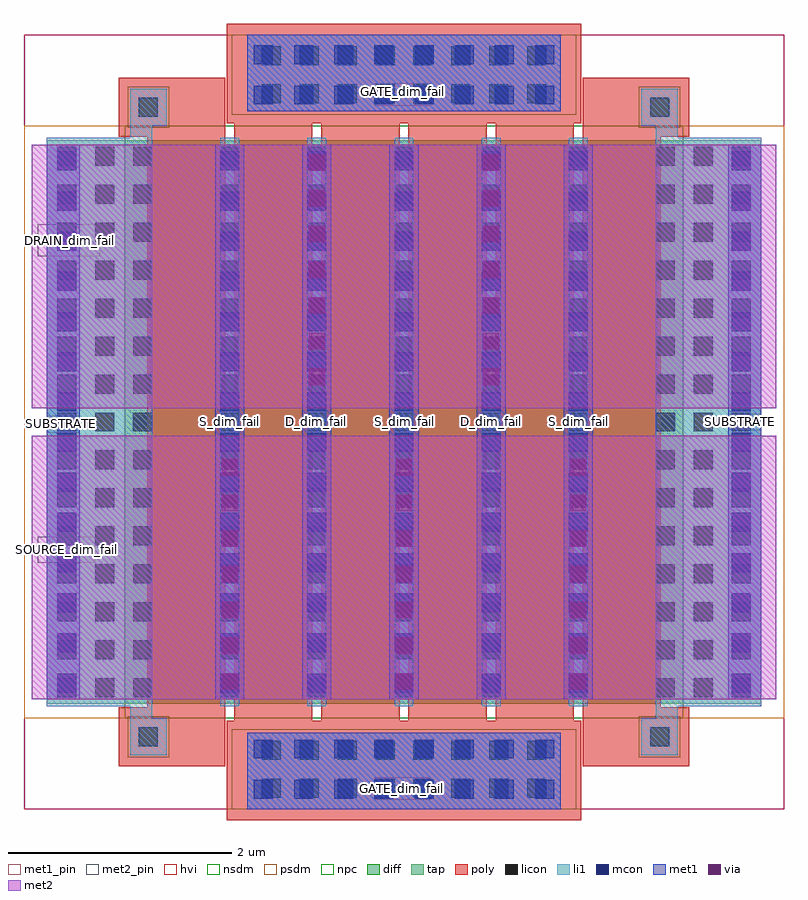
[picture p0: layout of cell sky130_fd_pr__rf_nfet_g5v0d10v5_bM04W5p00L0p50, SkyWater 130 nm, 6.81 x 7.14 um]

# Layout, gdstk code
import gdstk
lib = gdstk.Library(unit=1e-6, precision=1e-09)
def R(c, l, rs):  # rectangles x0, y0, x1, y1
    for r in rs: c.add(gdstk.rectangle(r[:2], r[2:], *l))
def A(c, l, x, y, w, h, nx, ny, dx, dy):  # array of equal rectangles
    R(c, l, [(x+i*dx, y+j*dy, x+i*dx+w, y+j*dy+h) for i in range(nx) for j in range(ny)])
def P(c, l, *ps):  # polygons
    for p in ps: c.add(gdstk.Polygon(p, *l))
diff = (65, 20)
tap = (65, 44)
poly = (66, 20)
licon = (66, 44)
li1 = (67, 20)
mcon = (67, 44)
met1_pin = (68, 16)
met1 = (68, 20)
via = (68, 44)
met2_pin = (69, 16)
met2 = (69, 20)
hvi = (75, 20)
nsdm = (93, 44)
psdm = (94, 20)
npc = (95, 20)

sky130_fd_pr__rf_nfet_g5 = lib.new_cell('sky130_fd_pr__rf_nfet_g5v0d10v5_bM04W5p00L0p50')
R(sky130_fd_pr__rf_nfet_g5, diff, [(0.905,0.945,5.905,5.995)])
R(sky130_fd_pr__rf_nfet_g5, tap, [(0.205,0.945,0.905,5.995), (5.905,0.945,6.605,5.995)])
P(sky130_fd_pr__rf_nfet_g5, poly, [(0.85,0.385),(0.85,0.915),(1.105,0.915),(1.105,6.025),(0.85,6.025),(0.85,6.555),(1.805,6.555),(1.805,0.385)],
  [(5.005,0.385),(5.005,6.555),(5.96,6.555),(5.96,6.025),(5.705,6.025),(5.705,0.915),(5.96,0.915),(5.96,0.385)],
  [(1.815,-0.1),(1.815,0.795),(1.885,0.795),(1.885,6.145),(2.585,6.145),(2.585,0.795),(2.665,0.795),(2.665,6.145),(3.365,6.145),(3.365,0.795),(3.445,0.795),(3.445,6.145),(4.145,6.145),(4.145,0.795),(4.225,0.795),(4.225,6.145),(1.815,6.145),(1.815,7.04),(4.995,7.04),(4.995,6.145),(4.925,6.145),(4.925,0.795),(4.995,0.795),(4.995,-0.1)])
A(sky130_fd_pr__rf_nfet_g5, licon, 2.13, 0.105, 0.17, 0.17, 8, 2, 0.34, 0.34)
A(sky130_fd_pr__rf_nfet_g5, licon, 0.3, 1.005, 0.17, 0.17, 3, 15, 0.34, 0.34)
A(sky130_fd_pr__rf_nfet_g5, licon, 1.76, 1.005, 0.17, 0.17, 6, 15, 0.78, 0.34)
A(sky130_fd_pr__rf_nfet_g5, licon, 6, 1.005, 0.17, 0.17, 1, 15, 0, 0.34)
A(sky130_fd_pr__rf_nfet_g5, licon, 6.34, 1.005, 0.17, 0.17, 1, 15, 0, 0.34)
A(sky130_fd_pr__rf_nfet_g5, licon, 2.13, 6.325, 0.17, 0.17, 8, 2, 0.34, 0.34)
R(sky130_fd_pr__rf_nfet_g5, licon, [(1.03,0.565,1.2,0.735), (5.61,0.565,5.78,0.735), (1.03,6.205,1.2,6.375), (5.61,6.205,5.78,6.375)])
A(sky130_fd_pr__rf_nfet_g5, li1, 1.76, 0.925, 0.17, 5.09, 5, 1, 0.78, 0)
A(sky130_fd_pr__rf_nfet_g5, li1, 1.76, 2.125, 0.17, 2.69, 5, 1, 0.78, 0)
R(sky130_fd_pr__rf_nfet_g5, li1, [(2,0,4.81,0.685), (0.95,0.485,1.28,0.815), (5.53,0.485,5.86,0.815), (0.95,0.815,1.15,0.925), (5.66,0.815,5.86,0.925), (0.205,0.925,1.15,6.015), (5.66,0.925,6.605,6.015), (0.95,6.015,1.15,6.125), (5.66,6.015,5.86,6.125), (0.95,6.125,1.28,6.455), (5.53,6.125,5.86,6.455), (2,6.255,4.81,6.94)])
A(sky130_fd_pr__rf_nfet_g5, mcon, 2.06, 0.095, 0.17, 0.17, 8, 2, 0.36, 0.36)
A(sky130_fd_pr__rf_nfet_g5, mcon, 0.3, 1.045, 0.17, 0.17, 1, 14, 0, 0.36)
A(sky130_fd_pr__rf_nfet_g5, mcon, 1.76, 1.045, 0.17, 0.17, 5, 14, 0.78, 0.36)
A(sky130_fd_pr__rf_nfet_g5, mcon, 6.34, 1.045, 0.17, 0.17, 1, 14, 0, 0.36)
A(sky130_fd_pr__rf_nfet_g5, mcon, 2.06, 6.315, 0.17, 0.17, 8, 2, 0.36, 0.36)
R(sky130_fd_pr__rf_nfet_g5, met1_pin, [(3.14,0.085,3.645,0.285), (0.205,3.375,0.5,3.525), (6.31,3.395,6.605,3.545), (3.14,6.305,3.645,6.505)])
A(sky130_fd_pr__rf_nfet_g5, met1, 1.715, 0.985, 0.26, 2.24, 3, 1, 1.56, 0)
A(sky130_fd_pr__rf_nfet_g5, met1, 1.715, 0.985, 0.26, 4.97, 5, 1, 0.78, 0)
R(sky130_fd_pr__rf_nfet_g5, met1, [(2,0,4.81,0.685), (0.205,0.985,0.5,5.955), (6.31,0.985,6.605,5.955), (2.495,3.715,2.755,5.955), (4.055,3.715,4.315,5.955), (2,6.255,4.81,6.94)])
A(sky130_fd_pr__rf_nfet_g5, via, 1.77, 1.07, 0.15, 0.15, 3, 7, 1.56, 0.32)
A(sky130_fd_pr__rf_nfet_g5, via, 2.55, 3.8, 0.15, 0.15, 1, 7, 0, 0.32)
A(sky130_fd_pr__rf_nfet_g5, via, 4.11, 3.8, 0.15, 0.15, 1, 7, 0, 0.32)
R(sky130_fd_pr__rf_nfet_g5, met2_pin, [(0.125,2.21,0.64,2.44), (0.125,4.955,0.685,5.24)])
A(sky130_fd_pr__rf_nfet_g5, met2, 1.715, 0.985, 0.26, 2.24, 3, 1, 1.56, 0)
R(sky130_fd_pr__rf_nfet_g5, met2, [(0.07,0.985,6.74,3.345), (0.07,3.595,6.74,5.955), (2.495,3.715,2.755,5.955), (4.055,3.715,4.315,5.955)])
R(sky130_fd_pr__rf_nfet_g5, hvi, [(0,0,6.81,6.94)])
R(sky130_fd_pr__rf_nfet_g5, nsdm, [(0.905,0.815,5.905,6.125)])
R(sky130_fd_pr__rf_nfet_g5, psdm, [(0,0.815,0.905,6.125), (5.905,0.815,6.81,6.125)])
R(sky130_fd_pr__rf_nfet_g5, npc, [(1.86,0,4.95,0.715), (0.93,0.465,1.3,0.835), (5.51,0.465,5.88,0.835), (0.93,6.105,1.3,6.475), (5.51,6.105,5.88,6.475), (1.86,6.225,4.95,6.94)])
sky130_fd_pr__rf_nfet_g5.add(gdstk.Label('GATE_dim_fail', (3.395,6.43), layer=68, texttype=5))
sky130_fd_pr__rf_nfet_g5.add(gdstk.Label('GATE_dim_fail', (3.385,0.185), layer=68, texttype=5))
sky130_fd_pr__rf_nfet_g5.add(gdstk.Label('S_dim_fail', (4.965,3.47), layer=83, texttype=44))
sky130_fd_pr__rf_nfet_g5.add(gdstk.Label('D_dim_fail', (4.185,3.47), layer=83, texttype=44))
sky130_fd_pr__rf_nfet_g5.add(gdstk.Label('S_dim_fail', (4.185,3.47), layer=83, texttype=44))
sky130_fd_pr__rf_nfet_g5.add(gdstk.Label('S_dim_fail', (3.405,3.47), layer=83, texttype=44))
sky130_fd_pr__rf_nfet_g5.add(gdstk.Label('S_dim_fail', (3.405,3.47), layer=83, texttype=44))
sky130_fd_pr__rf_nfet_g5.add(gdstk.Label('D_dim_fail', (2.625,3.47), layer=83, texttype=44))
sky130_fd_pr__rf_nfet_g5.add(gdstk.Label('S_dim_fail', (2.625,3.47), layer=83, texttype=44))
sky130_fd_pr__rf_nfet_g5.add(gdstk.Label('S_dim_fail', (1.845,3.47), layer=83, texttype=44))
sky130_fd_pr__rf_nfet_g5.add(gdstk.Label('S_dim_fail', (1.845,3.47), layer=83, texttype=44))
sky130_fd_pr__rf_nfet_g5.add(gdstk.Label('dummy_poly_dim_fail', (5.34,3.39), layer=83, texttype=44))
sky130_fd_pr__rf_nfet_g5.add(gdstk.Label('dummy_poly_dim_fail', (1.43,3.38), layer=83, texttype=44))
sky130_fd_pr__rf_nfet_g5.add(gdstk.Label('model_use_only_dim_fail', (2.215,3.54), layer=66, texttype=83))
sky130_fd_pr__rf_nfet_g5.add(gdstk.Label('model_use_only_dim_fail', (3.77,3.555), layer=66, texttype=83))
sky130_fd_pr__rf_nfet_g5.add(gdstk.Label('model_use_only_dim_fail', (2.96,3.555), layer=66, texttype=83))
sky130_fd_pr__rf_nfet_g5.add(gdstk.Label('model_use_only_dim_fail', (4.55,3.555), layer=66, texttype=83))
sky130_fd_pr__rf_nfet_g5.add(gdstk.Label('model_use_only_dim_fail', (1.435,3.54), layer=66, texttype=83))
sky130_fd_pr__rf_nfet_g5.add(gdstk.Label('model_use_only_dim_fail', (5.31,3.555), layer=66, texttype=83))
sky130_fd_pr__rf_nfet_g5.add(gdstk.Label('SUBSTRATE', (6.42,3.475), layer=68, texttype=16))
sky130_fd_pr__rf_nfet_g5.add(gdstk.Label('SUBSTRATE', (0.335,3.455), layer=68, texttype=16))
sky130_fd_pr__rf_nfet_g5.add(gdstk.Label('DRAIN_dim_fail', (0.41,5.095), layer=69, texttype=5))
sky130_fd_pr__rf_nfet_g5.add(gdstk.Label('SOURCE_dim_fail', (0.385,2.325), layer=69, texttype=5))

lib.write_gds('sky130_fd_pr__rf_nfet_g5v0d10v5_bM04W5p00L0p50.gds')
